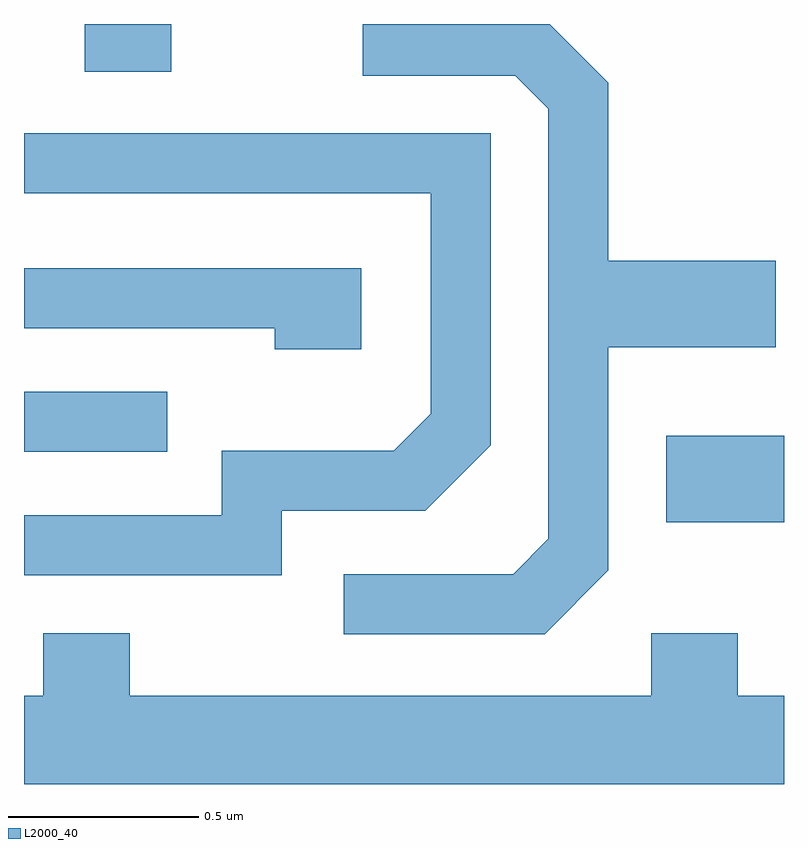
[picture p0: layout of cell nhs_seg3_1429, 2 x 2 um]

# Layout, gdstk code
import gdstk
lib = gdstk.Library(unit=1e-6, precision=1e-09)
def R(c, l, rs):  # rectangles x0, y0, x1, y1
    for r in rs: c.add(gdstk.rectangle(r[:2], r[2:], *l))
def P(c, l, *ps):  # polygons
    for p in ps: c.add(gdstk.Polygon(p, *l))
L2000_40 = (2000, 40)

nhs_seg3_1429 = lib.new_cell('nhs_seg3_1429')
R(nhs_seg3_1429, L2000_40, [(197.301,1175.581,197.611,1175.809), (195.611,1175.766,195.988,1175.924), (195.771,1176.766,195.999,1176.892)])
P(nhs_seg3_1429, L2000_40, [(197.149,1175.454),(197.149,1176.041),(197.589,1176.041),(197.589,1176.269),(197.149,1176.269),(197.149,1176.737),(196.994,1176.892),(196.503,1176.892),(196.503,1176.756),(196.904,1176.756),(196.991,1176.669),(196.991,1175.537),(196.899,1175.444),(196.453,1175.444),(196.453,1175.286),(196.982,1175.286)],
  [(196.289,1175.611),(196.667,1175.611),(196.839,1175.784),(196.839,1176.604),(195.611,1176.604),(195.611,1176.446),(196.681,1176.446),(196.681,1175.867),(196.584,1175.769),(196.131,1175.769),(196.131,1175.599),(195.611,1175.599),(195.611,1175.441),(196.289,1175.441)],
  [(196.499,1176.249),(195.611,1176.249),(195.611,1176.091),(196.271,1176.091),(196.271,1176.036),(196.499,1176.036)],
  [(197.611,1175.124),(197.489,1175.124),(197.489,1175.289),(197.261,1175.289),(197.261,1175.124),(195.889,1175.124),(195.889,1175.289),(195.661,1175.289),(195.661,1175.124),(195.611,1175.124),(195.611,1174.892),(197.611,1174.892)])

lib.write_gds('nhs_seg3_1429.gds')
